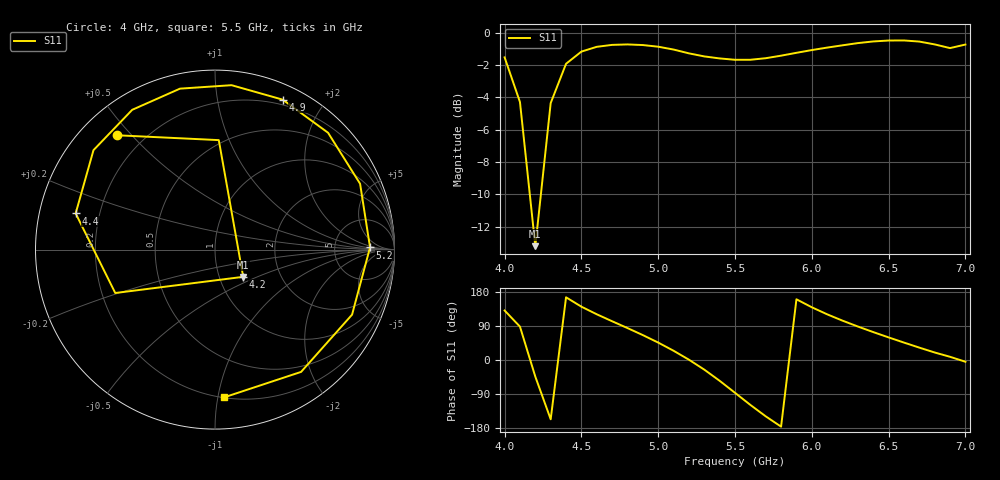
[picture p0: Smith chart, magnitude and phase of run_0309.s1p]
! Touchstone file exported from HFSS 2024.2.0
!  File:  C:/Users/wsak9/Desktop/Sim Fast/Widenad Patch/WP_AI_V1_sweep.aedt
!  Generated:  04:05:14 AM Oct 14, 2026
!  Design:  A1_model
!  Project:  WP_AI_V1_sweep
!  Setup:  Setup1
!  Solution:  Sweep
! Variables:
!  Air_gap = 2.18mm
!  Curve_Amp1 = 2.43
!  Curve_len1 = 1
!  Curve_pos = 13.465mm
!  Extra = 1.9mm
!  H_sub = 0.79mm
!  L_Patch = 22.93mm
!  L_Patch1 = 13.58mm
!  Sx = 3.16mm
!  Sy = 0.65mm
!  WS = 0.86mm
!  W_Patch = 16.98mm
!  W_Patch1 = 11.68mm
!Data is not renormalized
# GHz S MA
! Terminal data exported
! Port[1] = 1
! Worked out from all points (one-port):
!   31 points, 4 GHz to 7 GHz, reference per port
!   lowest |S11| = -13.2 dB at 4.2 GHz (marker M1), VSWR 1.56
!   |S11| at or under -10 dB: 4.164 GHz to 4.236 GHz (72.26 MHz wide, 1.72 % of centre)
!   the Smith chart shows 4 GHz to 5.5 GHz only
!   S11 on the Smith chart (normalised r, x): 4 GHz: 0.11, +0.46; 4.2 GHz: 1.30, -0.41; 4.4 GHz: 0.11, +0.13; 4.9 GHz: 0.15, +1.54; 5.2 GHz: 14, +1; 5.5 GHz: 0.20, -1.04
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4  0.8396 130.6
4.1  0.6103 88.0
4.2  0.2184 -44.0
4.3  0.606 -156.5
4.4  0.8021 165.4
4.5  0.8748 140.7
4.6  0.9051 120.6
4.7  0.9177 102.3
4.8  0.9206 84.2
4.9  0.9166 65.7
5  0.9059 45.9
5.1  0.8877 24.4
5.2  0.8639 0.8
5.3  0.8453 -25.4
5.4  0.8333 -54.9
5.5  0.8252 -86.6
5.6  0.8253 -118.5
5.7  0.8345 -148.7
5.8  0.8498 -175.9
5.9  0.8672 160.2
6  0.8844 139.2
6.1  0.9002 120.6
6.2  0.9149 103.8
6.3  0.9295 88.3
6.5  0.9467 59.6
6.7  0.9396 32.7
6.8  0.9208 19.8
7  0.9199 -4.6
